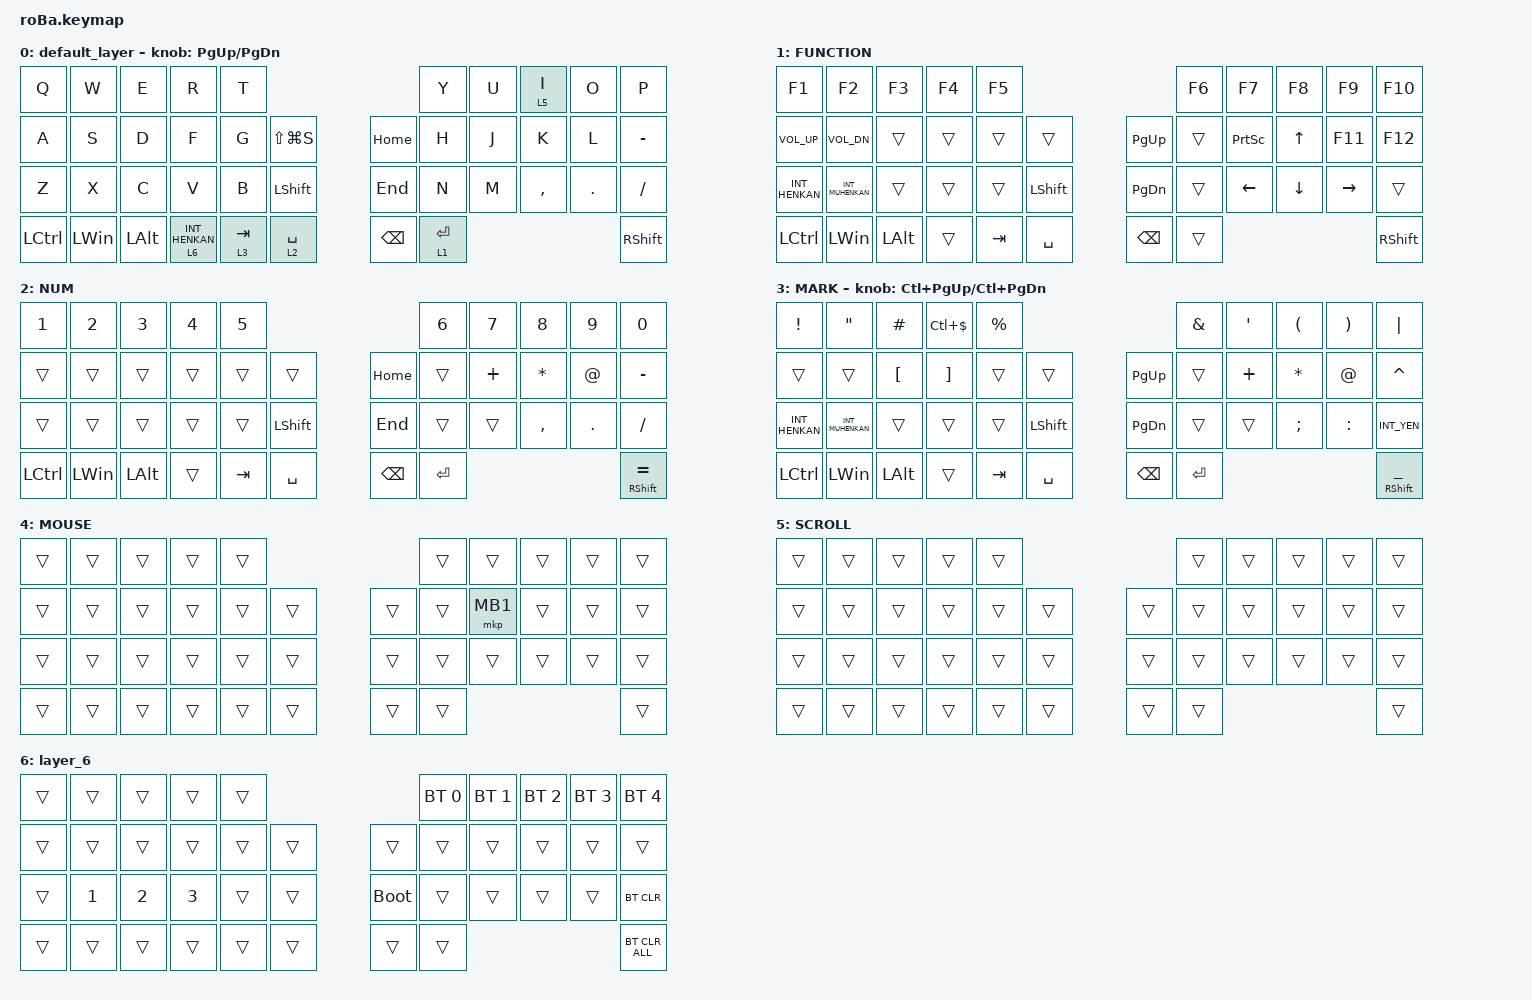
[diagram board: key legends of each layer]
#include <behaviors.dtsi>
#include <dt-bindings/zmk/bt.h>
#include <dt-bindings/zmk/keys.h>
#include <dt-bindings/zmk/pointing.h>

&mt {
    flavor = "balanced";
    quick-tap-ms = <0>;
};

&trackball {
    automouse-layer = <4>;
    scroll-layers = <5>;

    // arrows {
    //     layers = <3>;
    //     bindings =
    //         <&kp RIGHT_ARROW>,
    //         <&kp LEFT_ARROW>,
    //         <&kp UP_ARROW>,
    //         <&kp DOWN_ARROW>;
    //     tick = <10>;
    //     wait-ms = <5>;
    //     tap-ms = <5>;
    // };
};

/ {
    combos {
        compatible = "zmk,combos";

        tab {
            bindings = <&kp GRAVE>;
            key-positions = <11 12>;
        };

        Delette {
            bindings = <&kp DELETE>;
            key-positions = <7 8>;
        };

        Insert {
            bindings = <&kp INSERT>;
            key-positions = <6 7>;
        };

        CenterClick {
            bindings = <&mkp MB3>;
            key-positions = <19 18>;
        };

        RightClick {
            bindings = <&mkp MB2>;
            key-positions = <19 20>;
        };

        PrevClick {
            bindings = <&mkp MB4>;
            key-positions = <32 31>;
        };

        ClickNext {
            bindings = <&mkp MB5>;
            key-positions = <30 31>;
        };

        Escape {
            bindings = <&kp ESCAPE>;
            key-positions = <0 1>;
        };
    };

    macros {
        to_layer_0: to_layer_0 {
            compatible = "zmk,behavior-macro-one-param";
            #binding-cells = <1>;
            bindings = <&to 0 &macro_param_1to1 &kp MACRO_PLACEHOLDER>;
            label = "TO_LAYER_0";
        };
    };

    behaviors {
        lt_to_layer_0: lt_to_layer_0 {
            compatible = "zmk,behavior-hold-tap";
            label = "LAYER_TAP_TO_0";
            bindings = <&mo>, <&to_layer_0>;

            #binding-cells = <2>;
            tapping-term-ms = <200>;
        };
    };

    keymap {
        compatible = "zmk,keymap";

        default_layer {
            bindings = <
&kp Q      &kp W         &kp E         &kp R                        &kp T                                                 &kp Y        &kp U  &lt 5 I    &kp O    &kp P
&kp A      &kp S         &kp D         &kp F                        &kp G      &kp LS(LG(S))               &kp HOME       &kp H        &kp J  &kp K      &kp L    &kp MINUS
&kp Z      &kp X         &kp C         &kp V                        &kp B      &kp LEFT_SHIFT              &kp END        &kp N        &kp M  &kp COMMA  &kp DOT  &kp SLASH
&kp LCTRL  &kp LEFT_WIN  &kp LEFT_ALT  &lt_to_layer_0 6 INT_HENKAN  &lt 3 TAB  &lt_to_layer_0 2 SPACE      &kp BACKSPACE  &lt 1 ENTER                             &kp RIGHT_SHIFT
            >;

            sensor-bindings = <&inc_dec_kp PG_UP PAGE_DOWN>;
        };

        FUNCTION {
            bindings = <
&kp F1            &kp F2            &kp F3        &kp F4  &kp F5                                      &kp F6  &kp F7           &kp F8    &kp F9     &kp F10
&kp C_VOLUME_UP   &kp C_VOL_DN      &trans        &trans  &trans   &trans              &kp PAGE_UP    &trans  &kp PRINTSCREEN  &kp UP    &kp F11    &kp F12
&kp INT_HENKAN    &kp INT_MUHENKAN  &trans        &trans  &trans   &kp LEFT_SHIFT      &kp PAGE_DOWN  &trans  &kp LEFT         &kp DOWN  &kp RIGHT  &trans
&kp LEFT_CONTROL  &kp LEFT_WIN      &kp LEFT_ALT  &trans  &kp TAB  &kp SPACE           &kp BACKSPACE  &trans                                        &kp RIGHT_SHIFT
            >;
        };

        NUM {
            bindings = <
&kp NUMBER_1      &kp NUMBER_2  &kp NUMBER_3  &kp NUMBER_4  &kp N5                                      &kp NUMBER_6  &kp NUMBER_7  &kp NUMBER_8  &kp NUMBER_9  &kp NUMBER_0
&trans            &trans        &trans        &trans        &trans   &trans              &kp HOME       &trans        &kp PLUS      &kp ASTERISK  &kp AT_SIGN   &kp MINUS
&trans            &trans        &trans        &trans        &trans   &kp LEFT_SHIFT      &kp END        &trans        &trans        &kp COMMA     &kp PERIOD    &kp SLASH
&kp LEFT_CONTROL  &kp LEFT_WIN  &kp LEFT_ALT  &trans        &kp TAB  &kp SPACE           &kp BACKSPACE  &kp ENTER                                               &mt RIGHT_SHIFT EQUAL
            >;
        };

        MARK {
            bindings = <
&kp EXCLAMATION  &kp DOUBLE_QUOTES  &kp HASH          &kp LC(DOLLAR)     &kp PERCENT                                     &kp AMPERSAND  &kp SQT   &kp LEFT_PARENTHESIS  &kp RIGHT_PARENTHESIS  &kp PIPE
&trans           &trans             &kp LEFT_BRACKET  &kp RIGHT_BRACKET  &trans       &trans              &kp PAGE_UP    &trans         &kp PLUS  &kp ASTERISK          &kp AT_SIGN            &kp CARET
&kp INT_HENKAN   &kp INT_MUHENKAN   &trans            &trans             &trans       &kp LEFT_SHIFT      &kp PAGE_DOWN  &trans         &trans    &kp SEMICOLON         &kp COLON              &kp INT_YEN
&kp LCTRL        &kp LEFT_WIN       &kp LEFT_ALT      &trans             &kp TAB      &kp SPACE           &kp BACKSPACE  &kp ENTER                                                             &mt RIGHT_SHIFT UNDER
            >;

            sensor-bindings = <&inc_dec_kp LC(PAGE_UP) LC(PAGE_DOWN)>;
        };

        MOUSE {
            bindings = <
&trans  &trans  &trans  &trans  &trans                      &trans  &trans    &trans  &trans  &trans
&trans  &trans  &trans  &trans  &trans  &trans      &trans  &trans  &mkp MB1  &trans  &trans  &trans
&trans  &trans  &trans  &trans  &trans  &trans      &trans  &trans  &trans    &trans  &trans  &trans
&trans  &trans  &trans  &trans  &trans  &trans      &trans  &trans                            &trans
            >;
        };

        SCROLL {
            bindings = <
&trans  &trans  &trans  &trans  &trans                      &trans  &trans  &trans  &trans  &trans
&trans  &trans  &trans  &trans  &trans  &trans      &trans  &trans  &trans  &trans  &trans  &trans
&trans  &trans  &trans  &trans  &trans  &trans      &trans  &trans  &trans  &trans  &trans  &trans
&trans  &trans  &trans  &trans  &trans  &trans      &trans  &trans                          &trans
            >;
        };

        layer_6 {
            bindings = <
&trans  &trans        &trans        &trans        &trans                           &bt BT_SEL 0  &bt BT_SEL 1  &bt BT_SEL 2  &bt BT_SEL 3  &bt BT_SEL 4
&trans  &trans        &trans        &trans        &trans  &trans      &trans       &trans        &trans        &trans        &trans        &trans
&trans  &kp NUMBER_1  &kp NUMBER_2  &kp NUMBER_3  &trans  &trans      &bootloader  &trans        &trans        &trans        &trans        &bt BT_CLR
&trans  &trans        &trans        &trans        &trans  &trans      &trans       &trans                                                  &bt BT_CLR_ALL
            >;
        };
    };
};
